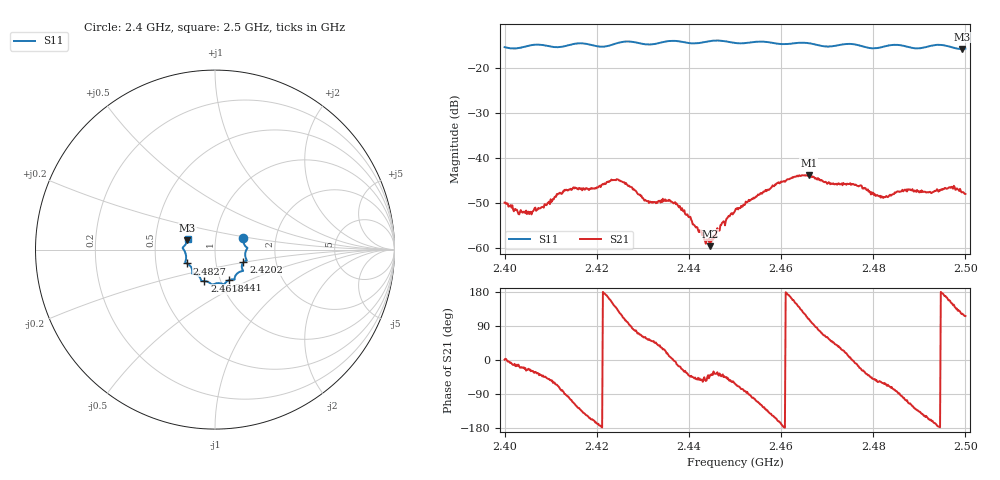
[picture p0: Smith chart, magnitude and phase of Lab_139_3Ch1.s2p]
# Hz S RI R 50
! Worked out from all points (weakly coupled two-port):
!   601 points, 2.4 GHz to 2.5 GHz, reference 50 ohm
!   highest |S21| = -43.88 dB at 2.466 GHz (marker M1); lowest = -59.7 dB at 2.4445 GHz (marker M2)
!   lowest |S11| = -15.8 dB at 2.4993 GHz (marker M3), VSWR 1.39, Z = 36.5 + j3.84 ohm
!   |S11| at or under -10 dB: start of sweep to end of sweep
!   S12 and S22 are empty: the file has one direction only
!   S11 on the Smith chart (normalised r, x): 2.4 GHz: 1.36, +0.18; 2.4202 GHz: 1.36, -0.20; 2.441 GHz: 1.10, -0.39; 2.4618 GHz: 0.84, -0.30; 2.4827 GHz: 0.72, -0.12; 2.5 GHz: 0.73, +0.09
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2.4e9  0.1579 0.0627  0.00317 4.82e-05  0 0  0 0
2.405333e9  0.1764 0.0128  0.00213 -0.00101  0 0  0 0
2.413167e9  0.1699 -0.0415  7.37e-06 -0.00433  0 0  0 0
2.416667e9  0.1773 -0.0607  -0.00317 -0.00328  0 0  0 0
2.420167e9  0.1582 -0.0711  -0.00456 -0.000931  0 0  0 0
2.424833e9  0.1539 -0.1124  -0.00331 0.00449  0 0  0 0
2.430833e9  0.1282 -0.1295  0.00182 0.00274  0 0  0 0
2.433333e9  0.1114 -0.151  0.00257 0.00206  0 0  0 0
2.437e9  0.1078 -0.1674  0.00319 -0.000198  0 0  0 0
2.441e9  0.0784 -0.1697  0.00124 -0.0013  0 0  0 0
2.4445e9  0.0536 -0.191  0.000754 -0.000712  0 0  0 0
2.45e9  0.0284 -0.187  0.00118 -0.00227  0 0  0 0
2.461833e9  -0.0595 -0.1753  -0.00565 0.00115  0 0  0 0
2.466e9  -0.0772 -0.1713  -0.00205 0.00606  0 0  0 0
2.466667e9  -0.0782 -0.1683  -0.00084 0.00602  0 0  0 0
2.477e9  -0.1267 -0.1242  0.00455 -0.00172  0 0  0 0
2.482667e9  -0.1562 -0.0773  0.00158 -0.00328  0 0  0 0
2.483333e9  -0.1604 -0.0753  0.00137 -0.00344  0 0  0 0
2.486667e9  -0.1636 -0.0627  -0.000742 -0.00425  0 0  0 0
2.497e9  -0.168 0.0236  -0.0041 0.00239  0 0  0 0
2.499333e9  -0.1539 0.0512  -0.00221 0.0035  0 0  0 0
2.5e9  -0.1521 0.0608  -0.00172 0.00355  0 0  0 0
